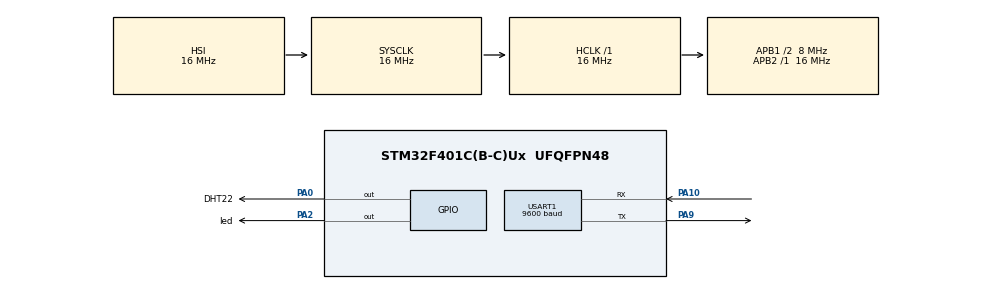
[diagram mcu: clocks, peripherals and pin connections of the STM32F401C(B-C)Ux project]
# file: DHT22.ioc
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Mcu.Family=STM32F4
Mcu.Name=STM32F401C(B-C)Ux
Mcu.Package=UFQFPN48
NVIC.PriorityGroup=NVIC_PRIORITYGROUP_4
PA0-WKUP.GPIO_Label=DHT22
PA0-WKUP.Signal=GPIO_Output
PA10.Mode=Asynchronous
PA10.Signal=USART1_RX
PA2.GPIO_Label=led
PA2.Signal=GPIO_Output
PA9.Mode=Asynchronous
PA9.Signal=USART1_TX
PH0\ -\ OSC_IN.Mode=HSE-External-Oscillator
PH0\ -\ OSC_IN.Signal=RCC_OSC_IN
PH1\ -\ OSC_OUT.Mode=HSE-External-Oscillator
PH1\ -\ OSC_OUT.Signal=RCC_OSC_OUT
ProjectManager.HeapSize=0x200
ProjectManager.StackSize=0x400
ProjectManager.TargetToolchain=STM32CubeIDE
RCC.48MHZClocksFreq_Value=26880000
RCC.AHBFreq_Value=16000000
RCC.APB1CLKDivider=RCC_HCLK_DIV2
RCC.APB1Freq_Value=8000000
RCC.APB1TimFreq_Value=16000000
RCC.APB2Freq_Value=16000000
RCC.APB2TimFreq_Value=16000000
RCC.CortexFreq_Value=16000000
RCC.HCLKFreq_Value=16000000
RCC.HSE_VALUE=25000000
RCC.HSI_VALUE=16000000
RCC.LSE_VALUE=32768
RCC.PLLM=25
RCC.PLLN=168
RCC.SYSCLKFreq_VALUE=16000000
RCC.VCOOutputFreq_Value=107520000
USART1.BaudRate=9600
USART1.VirtualMode=VM_ASYNC
board=custom

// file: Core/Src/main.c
/* USER CODE BEGIN Header */
/**
  ******************************************************************************
  * @file           : main.c
  * @brief          : Main program body
  ******************************************************************************
  * @attention
  *
  * Copyright (c) 2023 STMicroelectronics.
  * All rights reserved.
  *
  * This software is licensed under terms that can be found in the LICENSE file
  * in the root directory of this software component.
  * If no LICENSE file comes with this software, it is provided AS-IS.
  *
  ******************************************************************************
  */
/* USER CODE END Header */
#include "main.h"

/* USER CODE BEGIN Includes */
#include "uart.h"
#include "DHT22_LIB.h"
#include "uart.h"
#include "stdio.h"
#include "string.h"

/* USER CODE END Includes */

UART_HandleTypeDef huart1;

/* USER CODE BEGIN PV */
char texto[100];
int32_t milis,timepass;

/* USER CODE END PV */

void SystemClock_Config(void);
static void MX_GPIO_Init(void);
static void MX_USART1_UART_Init(void);

int main(void)
{

  /* MCU Configuration--------------------------------------------------------*/

  /* Reset of all peripherals, Initializes the Flash interface and the Systick. */
  HAL_Init();

  /* Configure the system clock */
  SystemClock_Config();

  /* Initialize all configured peripherals */
  MX_GPIO_Init();
  MX_USART1_UART_Init();
  /* USER CODE BEGIN 2 */
  uartx_write_text(&huart1, "iniciando\r\n");
  delay_Init();
  milis=uwTick;

  /* USER CODE END 2 */

  /* Infinite loop */
  /* USER CODE BEGIN WHILE */

  while (1)
  {

	if (timepass>=500)
	{
	  if( DHT22_ok()==1)
	  		 {
	  		 DHT22_Read();
	  		 HAL_GPIO_TogglePin(led_GPIO_Port, led_Pin);
	  		 }
	      	 else uartx_write_text(&huart1, "DHTPbad\r\n");
       milis=uwTick;
	}

	    timepass= uwTick-milis;
		 sprintf(texto,"Temp=%.1f    Hum=%.1f\r\n",DHT22_TEMP,DHT22_HUM);    // manda info serialmente
	  		 uartx_write_text(&huart1, texto);

	  HAL_Delay(200);

    /* USER CODE END WHILE */

  }
}

void SystemClock_Config(void)
{
  RCC_OscInitTypeDef RCC_OscInitStruct = {0};
  RCC_ClkInitTypeDef RCC_ClkInitStruct = {0};

  /** Configure the main internal regulator output voltage
  */
  __HAL_RCC_PWR_CLK_ENABLE();
  __HAL_PWR_VOLTAGESCALING_CONFIG(PWR_REGULATOR_VOLTAGE_SCALE2);

  /** Initializes the RCC Oscillators according to the specified parameters
  * in the RCC_OscInitTypeDef structure.
  */
  RCC_OscInitStruct.OscillatorType = RCC_OSCILLATORTYPE_HSI;
  RCC_OscInitStruct.HSIState = RCC_HSI_ON;
  RCC_OscInitStruct.HSICalibrationValue = RCC_HSICALIBRATION_DEFAULT;
  RCC_OscInitStruct.PLL.PLLState = RCC_PLL_NONE;
  if (HAL_RCC_OscConfig(&RCC_OscInitStruct) != HAL_OK)
  {
    Error_Handler();
  }

  /** Initializes the CPU, AHB and APB buses clocks
  */
  RCC_ClkInitStruct.ClockType = RCC_CLOCKTYPE_HCLK|RCC_CLOCKTYPE_SYSCLK
                              |RCC_CLOCKTYPE_PCLK1|RCC_CLOCKTYPE_PCLK2;
  RCC_ClkInitStruct.SYSCLKSource = RCC_SYSCLKSOURCE_HSI;
  RCC_ClkInitStruct.AHBCLKDivider = RCC_SYSCLK_DIV1;
  RCC_ClkInitStruct.APB1CLKDivider = RCC_HCLK_DIV2;
  RCC_ClkInitStruct.APB2CLKDivider = RCC_HCLK_DIV1;

  if (HAL_RCC_ClockConfig(&RCC_ClkInitStruct, FLASH_LATENCY_0) != HAL_OK)
  {
    Error_Handler();
  }
}

static void MX_USART1_UART_Init(void)
{

  huart1.Instance = USART1;
  huart1.Init.BaudRate = 9600;
  huart1.Init.WordLength = UART_WORDLENGTH_8B;
  huart1.Init.StopBits = UART_STOPBITS_1;
  huart1.Init.Parity = UART_PARITY_NONE;
  huart1.Init.Mode = UART_MODE_TX_RX;
  huart1.Init.HwFlowCtl = UART_HWCONTROL_NONE;
  huart1.Init.OverSampling = UART_OVERSAMPLING_16;
  if (HAL_UART_Init(&huart1) != HAL_OK)
  {
    Error_Handler();
  }

}

static void MX_GPIO_Init(void)
{
  GPIO_InitTypeDef GPIO_InitStruct = {0};

  /* GPIO Ports Clock Enable */
  __HAL_RCC_GPIOH_CLK_ENABLE();
  __HAL_RCC_GPIOA_CLK_ENABLE();

  /*Configure GPIO pin Output Level */
  HAL_GPIO_WritePin(GPIOA, DHT22_Pin|led_Pin, GPIO_PIN_RESET);

  /*Configure GPIO pins : DHT22_Pin led_Pin */
  GPIO_InitStruct.Pin = DHT22_Pin|led_Pin;
  GPIO_InitStruct.Mode = GPIO_MODE_OUTPUT_PP;
  GPIO_InitStruct.Pull = GPIO_NOPULL;
  GPIO_InitStruct.Speed = GPIO_SPEED_FREQ_LOW;
  HAL_GPIO_Init(GPIOA, &GPIO_InitStruct);

}

void Error_Handler(void)
{
  __disable_irq();
  while (1)
  {
  }
}
